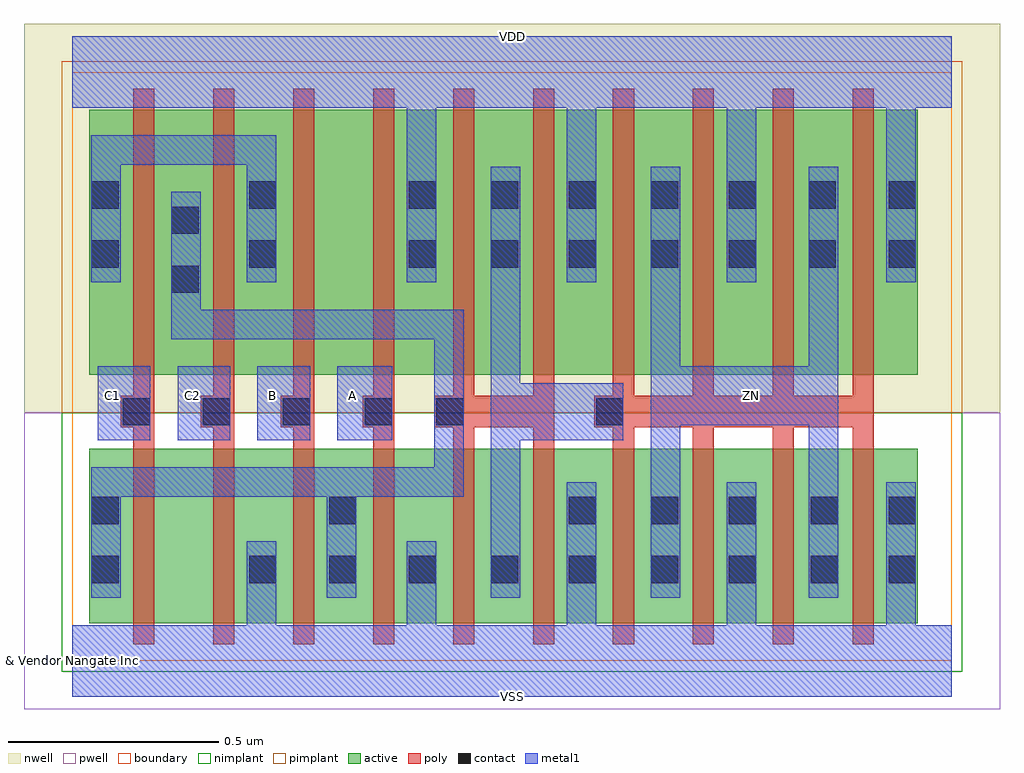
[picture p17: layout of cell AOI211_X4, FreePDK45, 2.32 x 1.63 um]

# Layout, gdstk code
import gdstk
lib = gdstk.Library(unit=1e-6, precision=1e-10)
def R(c, l, rs):  # rectangles x0, y0, x1, y1
    for r in rs: c.add(gdstk.rectangle(r[:2], r[2:], *l))
def A(c, l, x, y, w, h, nx, ny, dx, dy):  # array of equal rectangles
    R(c, l, [(x+i*dx, y+j*dy, x+i*dx+w, y+j*dy+h) for i in range(nx) for j in range(ny)])
def P(c, l, *ps):  # polygons
    for p in ps: c.add(gdstk.Polygon(p, *l))
active = (1, 0)
pwell = (2, 0)
nwell = (3, 0)
nimplant = (4, 0)
pimplant = (5, 0)
poly = (9, 0)
contact = (10, 0)
metal1 = (11, 0)
boundary = (235, 0)

aoi211_x4 = lib.new_cell('AOI211_X4')
R(aoi211_x4, active, [(0.04,0.09,2.01,0.505), (0.04,0.68,2.01,1.31)])
R(aoi211_x4, pwell, [(-0.115,-0.115,2.205,0.59)])
R(aoi211_x4, nwell, [(-0.115,0.59,2.205,1.515)])
R(aoi211_x4, nimplant, [(-0.025,-0.025,2.115,0.59)])
R(aoi211_x4, pimplant, [(-0.025,0.59,2.115,1.425)])
P(aoi211_x4, poly, [(0.115,0.555),(0.145,0.555),(0.145,0.04),(0.195,0.04),(0.195,1.36),(0.145,1.36),(0.145,0.63),(0.115,0.63)],
  [(0.305,0.555),(0.335,0.555),(0.335,0.04),(0.385,0.04),(0.385,1.36),(0.335,1.36),(0.335,0.63),(0.305,0.63)],
  [(0.495,0.555),(0.525,0.555),(0.525,0.04),(0.575,0.04),(0.575,1.36),(0.525,1.36),(0.525,0.63),(0.495,0.63)],
  [(0.69,0.555),(0.715,0.555),(0.715,0.04),(0.765,0.04),(0.765,1.36),(0.715,1.36),(0.715,0.63),(0.69,0.63)],
  [(0.86,0.555),(0.905,0.555),(0.905,0.04),(0.955,0.04),(0.955,0.555),(1.095,0.555),(1.095,0.04),(1.145,0.04),(1.145,1.36),(1.095,1.36),(1.095,0.63),(0.955,0.63),(0.955,1.36),(0.905,1.36),(0.905,0.63),(0.86,0.63)],
  [(1.24,0.555),(1.285,0.555),(1.285,0.04),(1.335,0.04),(1.335,0.555),(1.475,0.555),(1.475,0.04),(1.525,0.04),(1.525,0.555),(1.665,0.555),(1.665,0.04),(1.715,0.04),(1.715,0.555),(1.855,0.555),(1.855,0.04),(1.905,0.04),(1.905,1.36),(1.855,1.36),(1.855,0.63),(1.715,0.63),(1.715,1.36),(1.665,1.36),(1.665,0.63),(1.525,0.63),(1.525,1.36),(1.475,1.36),(1.475,0.63),(1.335,0.63),(1.335,1.36),(1.285,1.36),(1.285,0.63),(1.24,0.63)])
A(aoi211_x4, contact, 0.42, 0.185, 0.065, 0.065, 3, 1, 0.19, 0)
A(aoi211_x4, contact, 0.12, 0.56, 0.065, 0.065, 3, 1, 0.19, 0)
A(aoi211_x4, contact, 1.56, 0.935, 0.065, 0.065, 3, 2, 0.19, 0.14)
R(aoi211_x4, contact, [(0.045,0.185,0.11,0.25), (0.995,0.185,1.06,0.25), (1.18,0.185,1.245,0.25), (1.375,0.185,1.44,0.25), (1.56,0.185,1.625,0.25), (1.755,0.185,1.82,0.25), (1.94,0.185,2.005,0.25), (0.045,0.325,0.11,0.39), (0.61,0.325,0.675,0.39), (1.18,0.325,1.245,0.39), (1.375,0.325,1.44,0.39), (1.56,0.325,1.625,0.39), (1.755,0.325,1.82,0.39), (1.94,0.325,2.005,0.39), (0.695,0.56,0.76,0.625), (0.865,0.56,0.93,0.625), (1.245,0.56,1.31,0.625), (0.235,0.875,0.3,0.94), (0.045,0.935,0.11,1), (0.42,0.935,0.485,1), (0.8,0.935,0.865,1), (0.995,0.935,1.06,1), (1.18,0.935,1.245,1), (1.375,0.935,1.44,1), (0.235,1.015,0.3,1.08), (0.045,1.075,0.11,1.14), (0.42,1.075,0.485,1.14), (0.8,1.075,0.865,1.14), (0.995,1.075,1.06,1.14), (1.18,1.075,1.245,1.14), (1.375,1.075,1.44,1.14)])
A(aoi211_x4, metal1, 0.06, 0.525, 0.125, 0.175, 3, 1, 0.19, 0)
R(aoi211_x4, metal1, [(0.63,0.525,0.76,0.7)])
P(aoi211_x4, metal1, [(0.045,0.9),(0.115,0.9),(0.115,1.18),(0.415,1.18),(0.415,0.9),(0.485,0.9),(0.485,1.25),(0.045,1.25)],
  [(0.235,0.765),(0.86,0.765),(0.86,0.46),(0.045,0.46),(0.045,0.15),(0.115,0.15),(0.115,0.39),(0.605,0.39),(0.605,0.15),(0.675,0.15),(0.675,0.39),(0.93,0.39),(0.93,0.835),(0.305,0.835),(0.305,1.115),(0.235,1.115)],
  [(0.995,0.15),(1.065,0.15),(1.065,0.525),(1.31,0.525),(1.31,0.66),(1.065,0.66),(1.065,1.175),(0.995,1.175)],
  [(1.375,0.15),(1.445,0.15),(1.445,0.56),(1.75,0.56),(1.75,0.15),(1.82,0.15),(1.82,1.175),(1.75,1.175),(1.75,0.7),(1.445,0.7),(1.445,1.175),(1.375,1.175)],
  [(0,-0.085),(2.09,-0.085),(2.09,0.085),(2.005,0.085),(2.005,0.425),(1.935,0.425),(1.935,0.085),(1.625,0.085),(1.625,0.425),(1.555,0.425),(1.555,0.085),(1.245,0.085),(1.245,0.425),(1.175,0.425),(1.175,0.085),(0.865,0.085),(0.865,0.285),(0.795,0.285),(0.795,0.085),(0.485,0.085),(0.485,0.285),(0.415,0.285),(0.415,0.085),(0,0.085)],
  [(0,1.315),(0.795,1.315),(0.795,0.9),(0.865,0.9),(0.865,1.315),(1.175,1.315),(1.175,0.9),(1.245,0.9),(1.245,1.315),(1.555,1.315),(1.555,0.9),(1.625,0.9),(1.625,1.315),(1.935,1.315),(1.935,0.9),(2.005,0.9),(2.005,1.315),(2.09,1.315),(2.09,1.485),(0,1.485)])
R(aoi211_x4, boundary, [(0,0,2.09,1.4)])
aoi211_x4.add(gdstk.Label('A', (0.665,0.63), layer=11, texttype=0))
aoi211_x4.add(gdstk.Label('B', (0.475,0.63), layer=11, texttype=0))
aoi211_x4.add(gdstk.Label('C1', (0.095,0.63), layer=11, texttype=0))
aoi211_x4.add(gdstk.Label('C2', (0.285,0.63), layer=11, texttype=0))
aoi211_x4.add(gdstk.Label('VDD', (1.045,1.485), layer=11, texttype=0))
aoi211_x4.add(gdstk.Label('VSS', (1.045,-0.085), layer=11, texttype=0))
aoi211_x4.add(gdstk.Label('ZN', (1.615,0.63), layer=11, texttype=0))
aoi211_x4.add(gdstk.Label('& Vendor Nangate Inc', (0,0), layer=63, texttype=63))
aoi211_x4.add(gdstk.Label('& Product Open Cell Library', (0,0), layer=63, texttype=63))
aoi211_x4.add(gdstk.Label('& Version 2010_12', (0,0), layer=63, texttype=63))
aoi211_x4.add(gdstk.Label('& Instance AOI211_X4', (0,0), layer=63, texttype=63))

lib.write_gds('AOI211_X4.gds')
